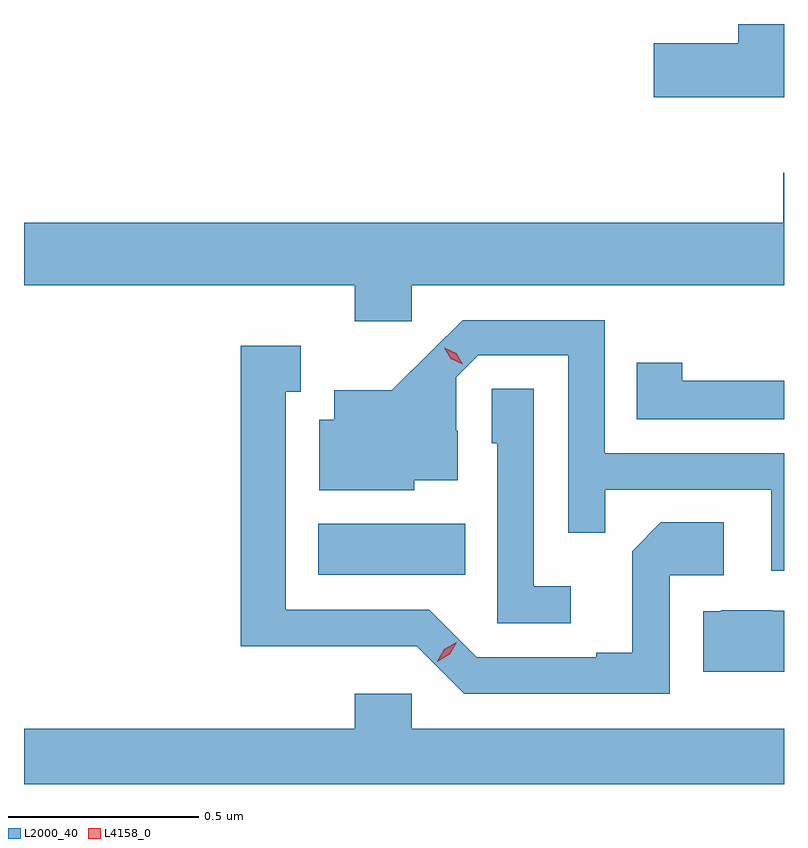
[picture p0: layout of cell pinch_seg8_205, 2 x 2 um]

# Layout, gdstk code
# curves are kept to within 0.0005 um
import gdstk
lib = gdstk.Library(unit=1e-6, precision=1e-09)
def R(c, l, rs):  # rectangles x0, y0, x1, y1
    for r in rs: c.add(gdstk.rectangle(r[:2], r[2:], *l))
def P(c, l, *ps):  # polygons
    for p in ps: c.add(gdstk.Polygon(p, *l))
L2000_40 = (2000, 40)
L4158_0 = (4158, 0)

pinch_seg8_205 = lib.new_cell('pinch_seg8_205')
R(pinch_seg8_205, L2000_40, [(622.883,1155.698,623.27,1155.832)])
P(pinch_seg8_205, L2000_40, [(624.109,1157.147),(623.989,1157.147),(623.989,1157.096),(623.766,1157.096),(623.766,1156.954),(624.109,1156.954)],
  [(623.13,1156.46),(624.109,1156.46),(624.109,1156.756),(624.107,1156.756),(624.107,1156.624),(622.109,1156.624),(622.109,1156.46),(622.979,1156.46),(622.979,1156.365),(623.13,1156.365)],
  [(624.109,1156.017),(623.637,1156.017),(623.637,1156.368),(623.264,1156.368),(623.077,1156.183),(622.925,1156.183),(622.925,1156.105),(622.886,1156.105),(622.886,1155.92),(623.136,1155.92),(623.136,1155.947),(623.251,1155.947),(623.251,1156.076),(623.247,1156.076),(623.247,1156.218),(623.304,1156.275),(623.541,1156.275),(623.541,1155.808),(623.639,1155.808),(623.639,1155.921),(624.075,1155.921),(624.075,1155.708),(624.109,1155.708)],
  [(623.808,1155.696),(623.95,1155.696),(623.95,1155.836),(623.785,1155.836),(623.709,1155.76),(623.709,1155.493),(623.615,1155.493),(623.615,1155.48),(623.301,1155.48),(623.175,1155.606),(622.798,1155.606),(622.798,1156.179),(622.837,1156.179),(622.837,1156.3),(622.68,1156.3),(622.68,1155.509),(622.92,1155.509),(622.92,1155.51),(623.142,1155.51),(623.268,1155.384),(623.808,1155.384)],
  [(624.109,1156.208),(623.841,1156.208),(623.841,1156.255),(623.722,1156.255),(623.722,1156.107),(624.109,1156.107)],
  [(623.548,1155.667),(623.451,1155.667),(623.451,1156.187),(623.34,1156.187),(623.34,1156.044),(623.355,1156.044),(623.355,1155.57),(623.548,1155.57)],
  [(624.109,1155.603),(624.078,1155.603),(624.078,1155.604),(623.944,1155.604),(623.941,1155.601),(623.897,1155.601),(623.897,1155.443),(624.109,1155.443)],
  [(624.109,1155.292),(623.13,1155.292),(623.13,1155.385),(622.979,1155.385),(622.979,1155.292),(622.109,1155.292),(622.109,1155.147),(624.109,1155.147)])
P(pinch_seg8_205, L4158_0, [(623.263,1156.251),(623.232,1156.266),(623.215,1156.295),(623.215,1156.295),(623.215,1156.295),(623.246,1156.28),(623.263,1156.251),(623.263,1156.251)],
  [(623.197,1155.469),(623.197,1155.47),(623.215,1155.502),(623.248,1155.52),(623.248,1155.52),(623.248,1155.52),(623.23,1155.488),(623.197,1155.469)])

lib.write_gds('pinch_seg8_205.gds')
